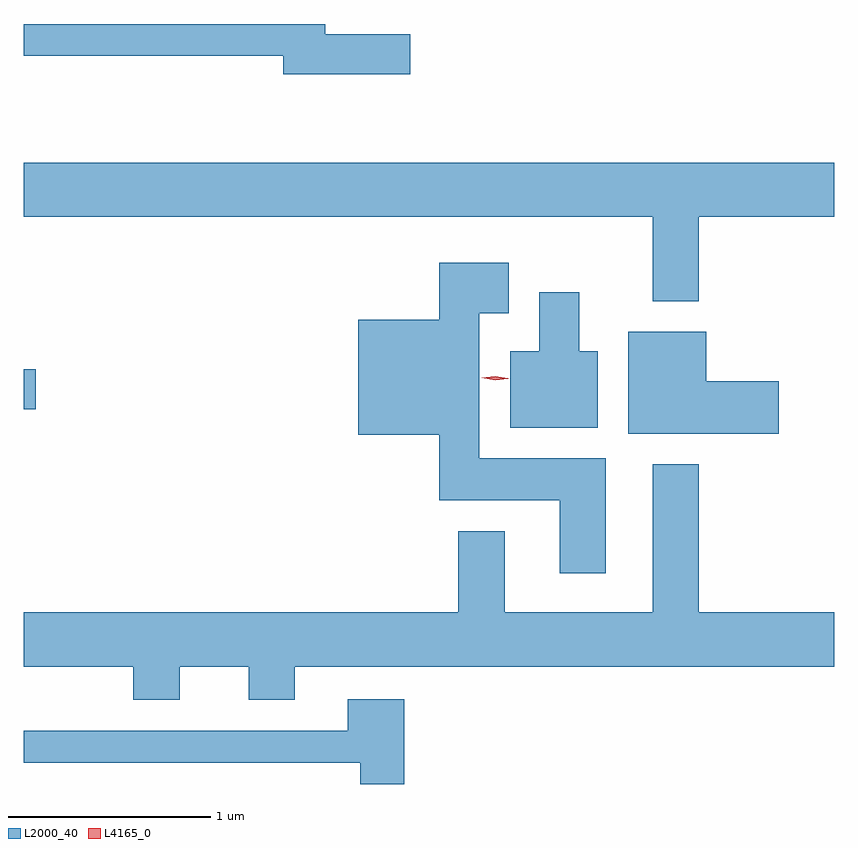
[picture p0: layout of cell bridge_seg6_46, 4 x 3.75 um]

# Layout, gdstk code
import gdstk
lib = gdstk.Library(unit=1e-6, precision=1e-09)
def R(c, l, rs):  # rectangles x0, y0, x1, y1
    for r in rs: c.add(gdstk.rectangle(r[:2], r[2:], *l))
def P(c, l, *ps):  # polygons
    for p in ps: c.add(gdstk.Polygon(p, *l))
L2000_40 = (2000, 40)
L4165_0 = (4165, 0)

bridge_seg6_46 = lib.new_cell('bridge_seg6_46')
R(bridge_seg6_46, L2000_40, [(1585.576,1617.906,1585.634,1618.104)])
P(bridge_seg6_46, L2000_40, [(1587.484,1619.759),(1587.064,1619.759),(1587.064,1619.809),(1585.576,1619.809),(1585.576,1619.651),(1586.856,1619.651),(1586.856,1619.561),(1587.484,1619.561)],
  [(1588.909,1618.856),(1589.576,1618.856),(1589.576,1619.124),(1585.576,1619.124),(1585.576,1618.856),(1588.681,1618.856),(1588.681,1618.441),(1588.909,1618.441)],
  [(1588.449,1617.664),(1587.824,1617.664),(1587.824,1618.381),(1587.969,1618.381),(1587.969,1618.629),(1587.626,1618.629),(1587.626,1618.349),(1587.226,1618.349),(1587.226,1617.781),(1587.626,1617.781),(1587.626,1617.456),(1588.221,1617.456),(1588.221,1617.096),(1588.449,1617.096)],
  [(1588.409,1618.194),(1588.319,1618.194),(1588.319,1618.484),(1588.121,1618.484),(1588.121,1618.194),(1587.976,1618.194),(1587.976,1617.816),(1588.409,1617.816)],
  [(1589.304,1618.044),(1588.944,1618.044),(1588.944,1618.289),(1588.561,1618.289),(1588.561,1617.786),(1589.304,1617.786)],
  [(1586.344,1616.636),(1586.686,1616.636),(1586.686,1616.471),(1586.914,1616.471),(1586.914,1616.636),(1589.576,1616.636),(1589.576,1616.904),(1588.909,1616.904),(1588.909,1617.634),(1588.681,1617.634),(1588.681,1616.904),(1587.949,1616.904),(1587.949,1617.304),(1587.721,1617.304),(1587.721,1616.904),(1585.576,1616.904),(1585.576,1616.636),(1586.116,1616.636),(1586.116,1616.471),(1586.344,1616.471)],
  [(1587.454,1616.474),(1587.176,1616.474),(1587.176,1616.319),(1585.576,1616.319),(1585.576,1616.161),(1587.236,1616.161),(1587.236,1616.056),(1587.454,1616.056)])
P(bridge_seg6_46, L4165_0, [(1587.902,1618.05),(1587.836,1618.061),(1587.836,1618.061),(1587.836,1618.062),(1587.902,1618.07),(1587.967,1618.06),(1587.968,1618.059),(1587.967,1618.058)])

lib.write_gds('bridge_seg6_46.gds')
